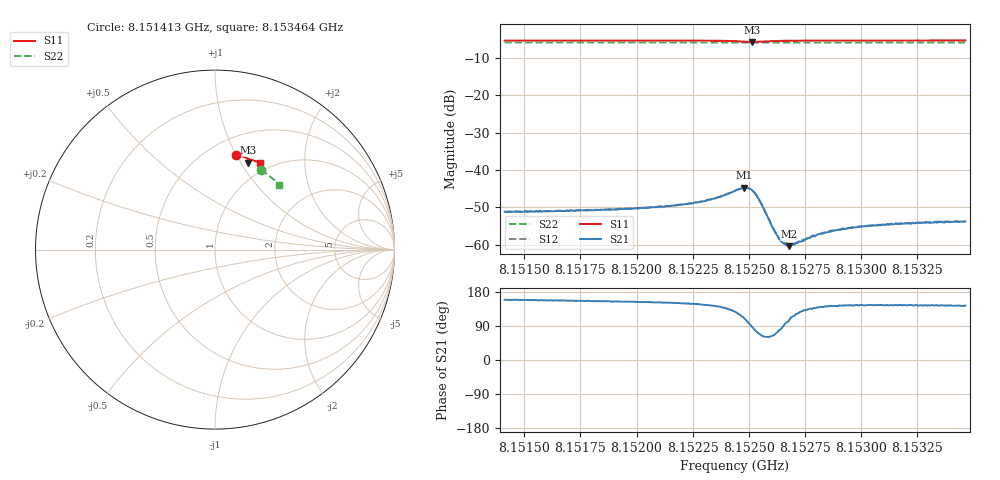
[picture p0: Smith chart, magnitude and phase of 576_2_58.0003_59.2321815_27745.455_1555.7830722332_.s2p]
#  HZ  S  RI  R  50.00
! Rohde & Schwarz Vector Network Analyzer
! Rohde-Schwarz,ZNB20-2Port,1311601062101988,3.16
! Created: UTC 3/21/2024, 1:16:07 AM
! freq[Hz]  re:S11  im:S11  re:S21  im:S21  re:S12  im:S12  re:S22  im:S22
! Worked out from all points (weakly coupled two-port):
!   401 points, 8.151413 GHz to 8.153464 GHz, reference 50 ohm
!   highest |S21| = -44.71 dB at 8.152479 GHz (marker M1); lowest = -60.4 dB at 8.152679 GHz (marker M2)
!   lowest |S11| = -5.7 dB at 8.152515 GHz (marker M3), VSWR 3.15, Z = 40.5 + j53.7 ohm
!   |S11| at or under -10 dB: nowhere
!   |S22| runs from -5.9 to -5.8 dB; largest |S21 - S12| = 0.00011
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8.1514129e9  0.1182 0.5268  -0.00259 0.001  -0.00259 0.00102  0.2562 0.4424
8.1517565e9  0.1422 0.5212  -0.00265 0.00118  -0.00261 0.00122  0.2749 0.4307
8.1521e9  0.1665 0.5143  -0.00285 0.0015  -0.00288 0.00157  0.2928 0.418
8.1522846e9  0.1809 0.5085  -0.00315 0.00206  -0.00316 0.00212  0.3023 0.4109
8.1523615e9  0.1875 0.5042  -0.00335 0.00268  -0.00333 0.00277  0.3064 0.4078
8.1524384e9  0.1932 0.4953  -0.0032 0.00417  -0.00317 0.00425  0.31 0.4044
8.1524794e9  0.1914 0.4874  -0.00201 0.00545  -0.00194 0.00553  0.3118 0.4026
8.1525e9  0.187 0.4847  -0.0007 0.00565  -0.000664 0.00571  0.3125 0.4018
8.1525153e9  0.1828 0.4849  0.000314 0.00531  0.000361 0.00536  0.3133 0.4014
8.1525307e9  0.1794 0.4873  0.00108 0.00457  0.00112 0.00464  0.3137 0.4008
8.1525512e9  0.1777 0.4919  0.00145 0.00341  0.00152 0.00345  0.3148 0.4002
8.1526076e9  0.1831 0.5005  0.000706 0.00151  0.000765 0.00151  0.3178 0.3982
8.1526333e9  0.1864 0.5019  0.00025 0.00119  0.000341 0.00119  0.3192 0.3974
8.1526486e9  0.1884 0.5023  7.25e-05 0.00107  0.000128 0.00111  0.32 0.3968
8.1526589e9  0.1897 0.5025  -6.32e-05 0.00102  -1.56e-05 0.00104  0.3205 0.3964
8.1526794e9  0.192 0.5026  -0.000237 0.000929  -0.000248 0.000967  0.3215 0.3956
8.152705e9  0.1946 0.5024  -0.00048 0.000889  -0.000472 0.00093  0.3228 0.3944
8.152782e9  0.2017 0.5012  -0.000917 0.000922  -0.000926 0.000924  0.3265 0.3911
8.1528589e9  0.2079 0.4994  -0.00118 0.000905  -0.0012 0.000961  0.3303 0.388
8.1529204e9  0.2125 0.4978  -0.00131 0.000958  -0.00133 0.000984  0.3333 0.3854
8.1531255e9  0.2268 0.4924  -0.00151 0.00109  -0.00153 0.00112  0.3427 0.3764
8.1534639e9  0.2487 0.4823  -0.00165 0.00122  -0.00164 0.00127  0.3581 0.3613
